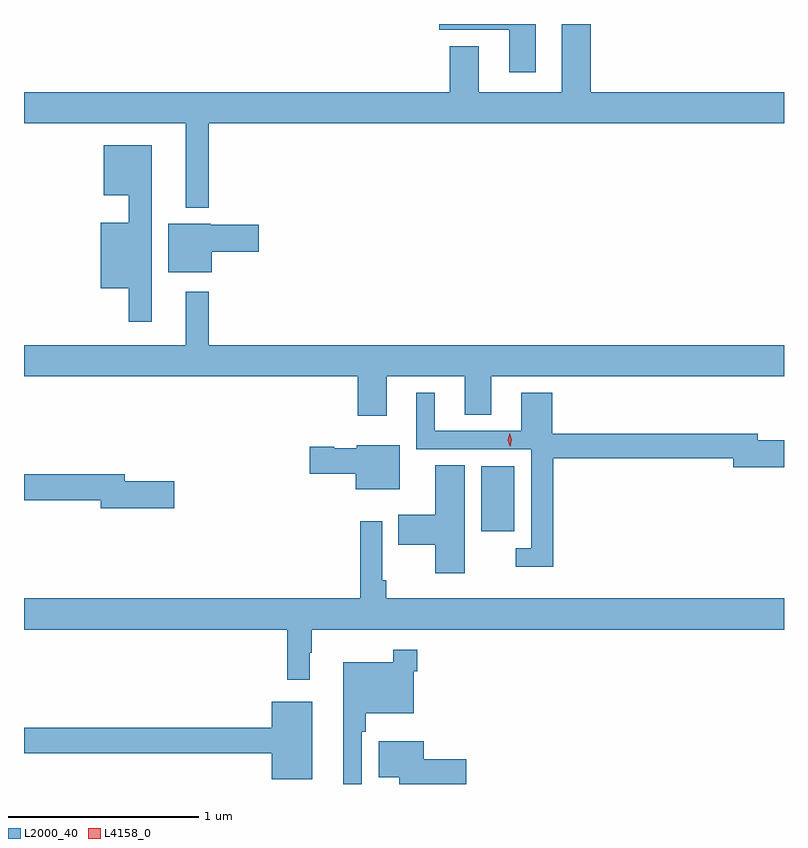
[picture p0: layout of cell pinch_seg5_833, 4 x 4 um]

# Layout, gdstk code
import gdstk
lib = gdstk.Library(unit=1e-6, precision=1e-09)
def R(c, l, rs):  # rectangles x0, y0, x1, y1
    for r in rs: c.add(gdstk.rectangle(r[:2], r[2:], *l))
def P(c, l, *ps):  # polygons
    for p in ps: c.add(gdstk.Polygon(p, *l))
L2000_40 = (2000, 40)
L4158_0 = (4158, 0)

pinch_seg5_833 = lib.new_cell('pinch_seg5_833')
R(pinch_seg5_833, L2000_40, [(784.286,877.256,784.459,877.6)])
P(pinch_seg5_833, L2000_40, [(782.851,879.404),(785.879,879.404),(785.879,879.568),(784.862,879.568),(784.862,879.927),(784.709,879.927),(784.709,879.568),(784.273,879.568),(784.273,879.811),(784.121,879.811),(784.121,879.568),(781.879,879.568),(781.879,879.404),(782.729,879.404),(782.729,878.96),(782.851,878.96)],
  [(784.573,879.927),(784.064,879.927),(784.064,879.896),(784.433,879.896),(784.433,879.672),(784.573,879.672)],
  [(782.551,879.289),(782.3,879.289),(782.3,879.026),(782.43,879.026),(782.43,878.881),(782.282,878.881),(782.282,878.537),(782.43,878.537),(782.43,878.361),(782.551,878.361)],
  [(782.866,878.728),(783.115,878.728),(783.115,878.87),(782.862,878.87),(782.862,878.875),(782.639,878.875),(782.639,878.621),(782.866,878.621)],
  [(783.787,878.072),(784.199,878.072),(784.199,877.87),(784.339,877.87),(784.339,878.072),(785.879,878.072),(785.879,878.236),(782.851,878.236),(782.851,878.518),(782.729,878.518),(782.729,878.236),(781.879,878.236),(781.879,878.072),(783.635,878.072),(783.635,877.866),(783.787,877.866)],
  [(784.664,877.642),(785.612,877.642),(785.612,877.595),(785.879,877.595),(785.879,877.737),(785.74,877.737),(785.74,877.771),(784.658,877.771),(784.658,877.987),(784.496,877.987),(784.496,877.785),(784.042,877.785),(784.042,877.987),(783.944,877.987),(783.944,877.689),(784.548,877.689),(784.548,877.167),(784.467,877.167),(784.467,877.07),(784.664,877.07)],
  [(783.856,877.711),(783.63,877.711),(783.63,877.693),(783.513,877.693),(783.513,877.701),(783.384,877.701),(783.384,877.559),(783.626,877.559),(783.626,877.478),(783.856,877.478)],
  [(784.198,877.604),(784.043,877.604),(784.043,877.345),(783.85,877.345),(783.85,877.187),(784.043,877.187),(784.043,877.035),(784.198,877.035)],
  [(782.671,877.52),(782.41,877.52),(782.41,877.556),(781.879,877.556),(781.879,877.42),(782.282,877.42),(782.282,877.378),(782.671,877.378)],
  [(783.382,876.617),(783.394,876.617),(783.394,876.74),(785.879,876.74),(785.879,876.904),(783.785,876.904),(783.785,877),(783.765,877),(783.765,877.309),(783.649,877.309),(783.649,876.904),(781.879,876.904),(781.879,876.74),(783.265,876.74),(783.265,876.477),(783.382,876.477)],
  [(783.657,876.203),(783.677,876.203),(783.677,876.299),(783.93,876.299),(783.93,876.521),(783.95,876.521),(783.95,876.634),(783.822,876.634),(783.822,876.568),(783.56,876.568),(783.56,875.927),(783.657,875.927)],
  [(783.397,876.361),(783.182,876.361),(783.182,876.224),(781.879,876.224),(781.879,876.088),(783.182,876.088),(783.182,875.951),(783.397,875.951)],
  [(784.207,876.056),(783.982,876.056),(783.982,876.151),(783.746,876.151),(783.746,875.963),(783.854,875.963),(783.854,875.927),(784.207,875.927)])
P(pinch_seg5_833, L4158_0, [(784.438,877.701),(784.437,877.702),(784.426,877.737),(784.435,877.773),(784.435,877.773),(784.435,877.773),(784.446,877.738),(784.438,877.702)])

lib.write_gds('pinch_seg5_833.gds')
